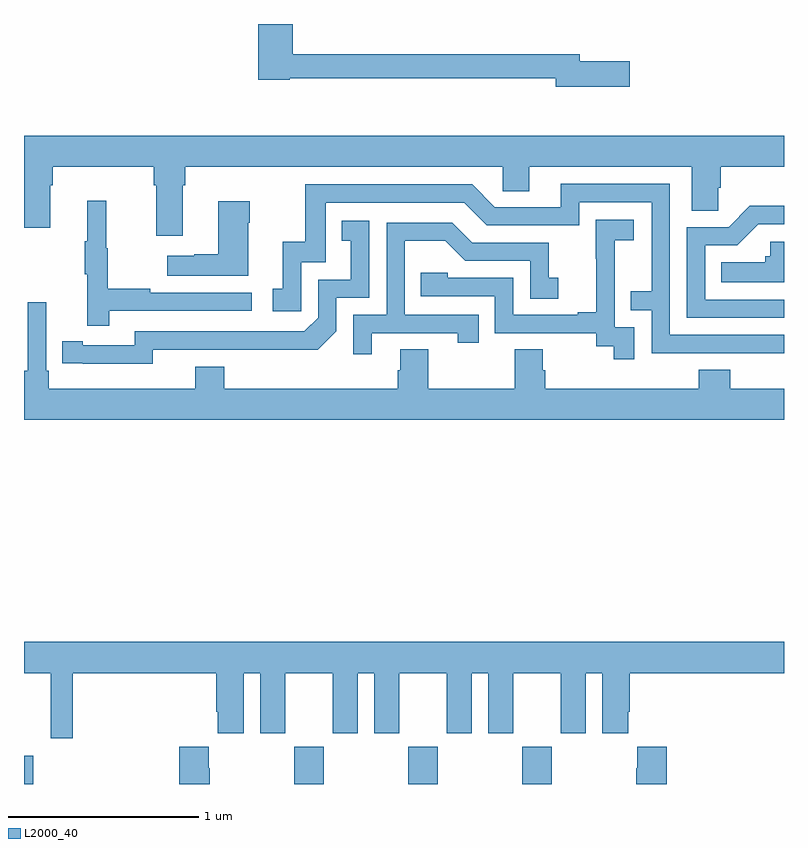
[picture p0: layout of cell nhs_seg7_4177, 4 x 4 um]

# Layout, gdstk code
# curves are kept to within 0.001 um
import gdstk
lib = gdstk.Library(unit=1e-6, precision=1e-09)
def R(c, l, rs):  # rectangles x0, y0, x1, y1
    for r in rs: c.add(gdstk.rectangle(r[:2], r[2:], *l))
def A(c, l, x, y, w, h, nx, ny, dx, dy):  # array of equal rectangles
    R(c, l, [(x+i*dx, y+j*dy, x+i*dx+w, y+j*dy+h) for i in range(nx) for j in range(ny)])
def P(c, l, *ps):  # polygons
    for p in ps: c.add(gdstk.Polygon(p, *l))
L2000_40 = (2000, 40)

nhs_seg7_4177 = lib.new_cell('nhs_seg7_4177')
A(nhs_seg7_4177, L2000_40, 376.423, 1032, 0.155, 0.196, 3, 1, 0.6, 0)
R(nhs_seg7_4177, L2000_40, [(375,1032,375.049,1032.148)])
P(nhs_seg7_4177, L2000_40, [(378.187,1035.805),(377.926,1035.805),(377.926,1035.842),(376.415,1035.842),(376.415,1036),(376.232,1036),(376.232,1035.706),(376.398,1035.706),(376.398,1035.714),(377.798,1035.714),(377.798,1035.671),(378.187,1035.671)],
  [(375.835,1035.152),(375.848,1035.152),(375.848,1035.248),(377.52,1035.248),(377.52,1035.121),(377.659,1035.121),(377.659,1035.248),(378.515,1035.248),(378.515,1035.016),(378.654,1035.016),(378.654,1035.139),(378.668,1035.139),(378.668,1035.248),(379,1035.248),(379,1035.412),(375,1035.412),(375,1034.928),(375.139,1034.928),(375.139,1035.152),(375.152,1035.152),(375.152,1035.248),(375.683,1035.248),(375.683,1035.152),(375.695,1035.152),(375.695,1034.886),(375.835,1034.886)],
  [(379,1034.364),(378.399,1034.364),(378.399,1035.159),(377.825,1035.159),(377.825,1035.036),(377.478,1035.036),(377.358,1035.156),(376.479,1035.156),(376.479,1034.853),(376.361,1034.853),(376.361,1034.607),(376.308,1034.607),(376.308,1034.487),(376.458,1034.487),(376.458,1034.745),(376.587,1034.745),(376.587,1035.06),(377.316,1035.06),(377.436,1034.94),(377.922,1034.94),(377.922,1035.063),(378.303,1035.063),(378.303,1034.594),(378.193,1034.594),(378.193,1034.493),(378.303,1034.493),(378.303,1034.268),(379,1034.267)],
  [(375.449,1034.49),(376.198,1034.49),(376.198,1034.586),(375.665,1034.586),(375.665,1034.606),(375.442,1034.606),(375.442,1034.82),(375.434,1034.82),(375.434,1035.07),(375.332,1035.07),(375.332,1034.857),(375.321,1034.857),(375.321,1034.683),(375.332,1034.683),(375.332,1034.412),(375.449,1034.412)],
  [(376.18,1034.954),(376.188,1034.954),(376.188,1035.067),(376.022,1035.067),(376.022,1034.789),(375.896,1034.789),(375.896,1034.779),(375.753,1034.779),(375.753,1034.675),(376.18,1034.675)],
  [(379,1034.55),(378.585,1034.55),(378.585,1034.835),(378.754,1034.835),(378.865,1034.946),(379,1034.946),(379,1035.044),(378.821,1035.044),(378.708,1034.931),(378.489,1034.931),(378.489,1034.454),(379,1034.454)],
  [(378.213,1034.403),(378.108,1034.403),(378.108,1034.632),(378.11,1034.632),(378.11,1034.861),(378.208,1034.861),(378.208,1034.971),(378.01,1034.971),(378.01,1034.765),(378.011,1034.765),(378.011,1034.482),(377.915,1034.482),(377.915,1034.469),(377.574,1034.469),(377.574,1034.664),(377.229,1034.664),(377.229,1034.691),(377.089,1034.691),(377.089,1034.568),(377.478,1034.568),(377.478,1034.373),(378.012,1034.373),(378.012,1034.305),(378.105,1034.305),(378.105,1034.235),(378.213,1034.235)],
  [(375.678,1034.286),(376.546,1034.285),(376.644,1034.382),(376.644,1034.559),(376.818,1034.559),(376.818,1034.965),(376.672,1034.965),(376.672,1034.859),(376.721,1034.859),(376.721,1034.655),(376.548,1034.655),(376.548,1034.454),(376.476,1034.382),(375.582,1034.382),(375.582,1034.31),(375.31,1034.31),(375.31,1034.33),(375.202,1034.33),(375.202,1034.214),(375.678,1034.213)],
  [(376.831,1034.373),(377.282,1034.373),(377.282,1034.322),(377.393,1034.322),(377.393,1034.469),(377.004,1034.469),(377.004,1034.858),(377.218,1034.858),(377.322,1034.754),(377.664,1034.754),(377.664,1034.555),(377.812,1034.555),(377.812,1034.665),(377.763,1034.665),(377.763,1034.85),(377.359,1034.85),(377.254,1034.955),(376.908,1034.955),(376.908,1034.469),(376.734,1034.469),(376.734,1034.262),(376.831,1034.262)],
  [(379,1034.854),(378.927,1034.854),(378.927,1034.778),(378.901,1034.778),(378.901,1034.746),(378.67,1034.746),(378.67,1034.642),(379,1034.642)],
  [(379,1034.08),(378.716,1034.08),(378.716,1034.179),(378.551,1034.179),(378.551,1034.08),(377.744,1034.08),(377.744,1034.178),(377.731,1034.178),(377.731,1034.288),(377.584,1034.288),(377.584,1034.08),(377.127,1034.08),(377.127,1034.288),(376.979,1034.288),(376.979,1034.178),(376.967,1034.178),(376.967,1034.08),(376.055,1034.08),(376.055,1034.197),(375.902,1034.197),(375.902,1034.08),(375.131,1034.08),(375.131,1034.176),(375.117,1034.176),(375.117,1034.536),(375.02,1034.536),(375.02,1034.176),(375.001,1034.176),(375.001,1034.08),(375,1034.08),(375,1033.916),(379,1033.916)],
  [(375,1032.584),(375.14,1032.584),(375.14,1032.24),(375.257,1032.24),(375.257,1032.584),(376.013,1032.584),(376.013,1032.379),(376.019,1032.379),(376.019,1032.267),(376.156,1032.267),(376.156,1032.584),(376.244,1032.584),(376.244,1032.267),(376.375,1032.267),(376.375,1032.584),(376.625,1032.584),(376.625,1032.267),(376.756,1032.267),(376.756,1032.584),(376.844,1032.584),(376.844,1032.267),(376.975,1032.267),(376.975,1032.584),(377.225,1032.584),(377.225,1032.267),(377.356,1032.267),(377.356,1032.584),(377.444,1032.584),(377.444,1032.267),(377.575,1032.267),(377.575,1032.584),(377.825,1032.584),(377.825,1032.267),(377.956,1032.267),(377.956,1032.584),(378.044,1032.584),(378.044,1032.267),(378.181,1032.267),(378.181,1032.379),(378.188,1032.379),(378.188,1032.584),(379,1032.584),(379,1032.748),(375,1032.748)],
  [(375.978,1032.083),(375.973,1032.083),(375.973,1032.196),(375.818,1032.196),(375.818,1032),(375.978,1032)],
  [(378.383,1032.196),(378.227,1032.196),(378.227,1032.083),(378.223,1032.083),(378.223,1032),(378.383,1032)])

lib.write_gds('nhs_seg7_4177.gds')
